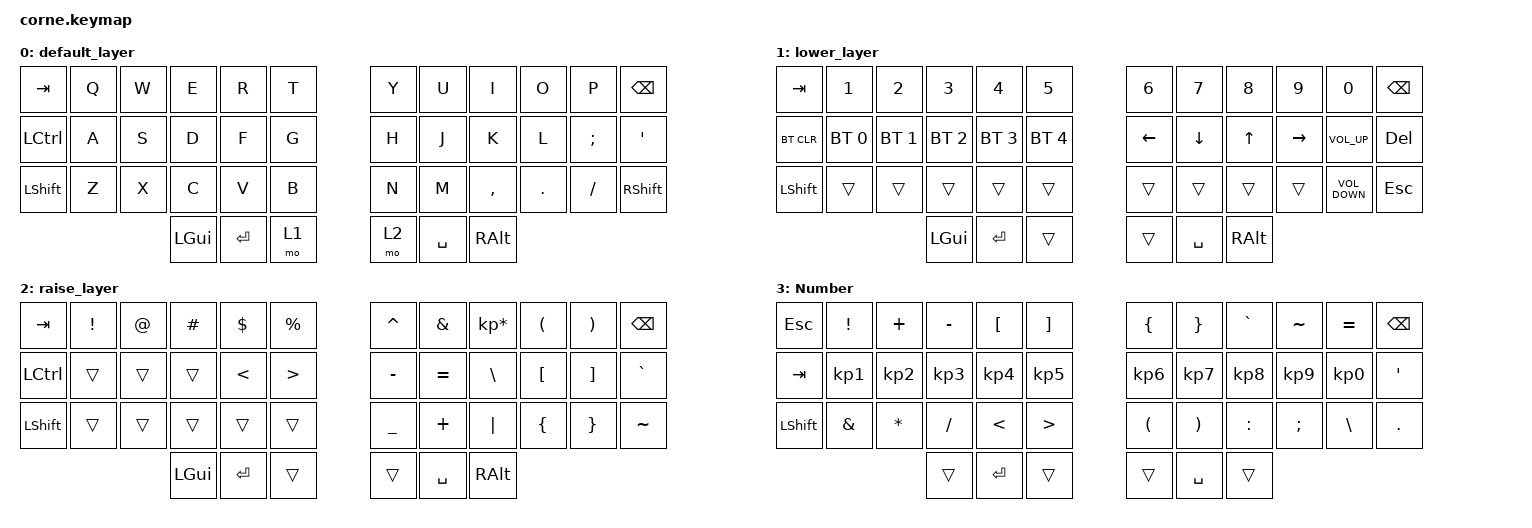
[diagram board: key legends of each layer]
/*
 * Copyright (c) 2020 The ZMK Contributors
 *
 * SPDX-License-Identifier: MIT
 */

#include <behaviors.dtsi>
#include <dt-bindings/zmk/bt.h>
#include <dt-bindings/zmk/keys.h>

/ {
    combos {
        compatible = "zmk,combos";

        Layer3 {
            bindings = <&mo 3>;
            key-positions = <38 39>;
        };
    };

    keymap {
        compatible = "zmk,keymap";

        default_layer {
            // -----------------------------------------------------------------------------------------
            // |  TAB |  Q  |  W  |  E  |  R  |  T  |   |  Y  |  U   |  I  |  O  |  P  | BKSP |
            // | CTRL |  A  |  S  |  D  |  F  |  G  |   |  H  |  J   |  K  |  L  |  ;  |  '   |
            // | SHFT |  Z  |  X  |  C  |  V  |  B  |   |  N  |  M   |  ,  |  .  |  /  | ESC  |
            //                    | GUI | LWR | ENT |   | SPC | RSE  | ALT |

            bindings = <
  &kp TAB  &kp Q  &kp W     &kp E    &kp R  &kp T    &kp Y      &kp U      &kp I    &kp O     &kp P         &kp BSPC
&kp LCTRL  &kp A  &kp S     &kp D    &kp F  &kp G    &kp H      &kp J      &kp K    &kp L  &kp SEMI          &kp SQT
&kp LSHFT  &kp Z  &kp X     &kp C    &kp V  &kp B    &kp N      &kp M  &kp COMMA  &kp DOT  &kp FSLH  &kp RIGHT_SHIFT
                         &kp LGUI  &kp RET  &mo 1    &mo 2  &kp SPACE   &kp RALT
            >;
        };

        lower_layer {
            // -----------------------------------------------------------------------------------------
            // |  TAB |  1  |  2  |  3  |  4  |  5  |   |  6  |  7  |  8  |  9  |  0  | BKSP |
            // | BTCLR| BT1 | BT2 | BT3 | BT4 | BT5 |   | LFT | DWN |  UP | RGT |     |      |
            // | SHFT |     |     |     |     |     |   |     |     |     |     |     |      |
            //                    | GUI |     | ENT |   | SPC |     | ALT |

            bindings = <
   &kp TAB        &kp N1        &kp N2        &kp N3        &kp N4        &kp N5      &kp N6     &kp N7    &kp N8     &kp N9             &kp N0    &kp BSPC
&bt BT_CLR  &bt BT_SEL 0  &bt BT_SEL 1  &bt BT_SEL 2  &bt BT_SEL 3  &bt BT_SEL 4    &kp LEFT   &kp DOWN    &kp UP  &kp RIGHT    &kp C_VOLUME_UP     &kp DEL
 &kp LSHFT        &trans        &trans        &trans        &trans        &trans      &trans     &trans    &trans     &trans  &kp C_VOLUME_DOWN  &kp ESCAPE
                                            &kp LGUI     &kp ENTER        &trans      &trans  &kp SPACE  &kp RALT
            >;
        };

        raise_layer {
            // -----------------------------------------------------------------------------------------
            // |  TAB |  !  |  @  |  #  |  $  |  %  |   |  ^  |  &  |  *  |  (  |  )  | BKSP |
            // | CTRL |     |     |     |     |     |   |  -  |  =  |  [  |  ]  |  \  |  `   |
            // | SHFT |     |     |     |     |     |   |  _  |  +  |  {  |  }  | "|" |  ~   |
            //                    | GUI |     | Ent |   | SPC |     | ALT |

            bindings = <
  &kp TAB  &kp EXCL  &kp AT  &kp HASH       &kp DLLR         &kp PRCNT    &kp CARET   &kp AMPS  &kp KP_MULTIPLY  &kp LPAR           &kp RPAR   &kp BSPC
&kp LCTRL    &trans  &trans    &trans  &kp LESS_THAN  &kp GREATER_THAN    &kp MINUS  &kp EQUAL    &kp BACKSLASH  &kp LBKT  &kp RIGHT_BRACKET  &kp GRAVE
&kp LSHFT    &trans  &trans    &trans         &trans            &trans    &kp UNDER   &kp PLUS         &kp PIPE  &kp LBRC    &kp RIGHT_BRACE  &kp TILDE
                             &kp LGUI      &kp ENTER            &trans       &trans  &kp SPACE         &kp RALT
            >;
        };

        Number {
            bindings = <
   &kp ESC  &kp EXCLAMATION         &kp PLUS        &kp MINUS         &kp LBKT          &kp RBKT          &kp LEFT_BRACE        &kp RIGHT_BRACE        &kp GRAVE        &kp TILDE        &kp EQUAL  &kp BACKSPACE
   &kp TAB  &kp KP_NUMBER_1  &kp KP_NUMBER_2  &kp KP_NUMBER_3  &kp KP_NUMBER_4   &kp KP_NUMBER_5         &kp KP_NUMBER_6        &kp KP_NUMBER_7  &kp KP_NUMBER_8  &kp KP_NUMBER_9  &kp KP_NUMBER_0        &kp SQT
&kp LSHIFT    &kp AMPERSAND     &kp ASTERISK        &kp SLASH           &kp LT  &kp GREATER_THAN    &kp LEFT_PARENTHESIS  &kp RIGHT_PARENTHESIS        &kp COLON    &kp SEMICOLON         &kp BSLH     &kp PERIOD
                                                       &trans        &kp ENTER            &trans                  &trans              &kp SPACE           &trans
            >;
        };
    };
};
